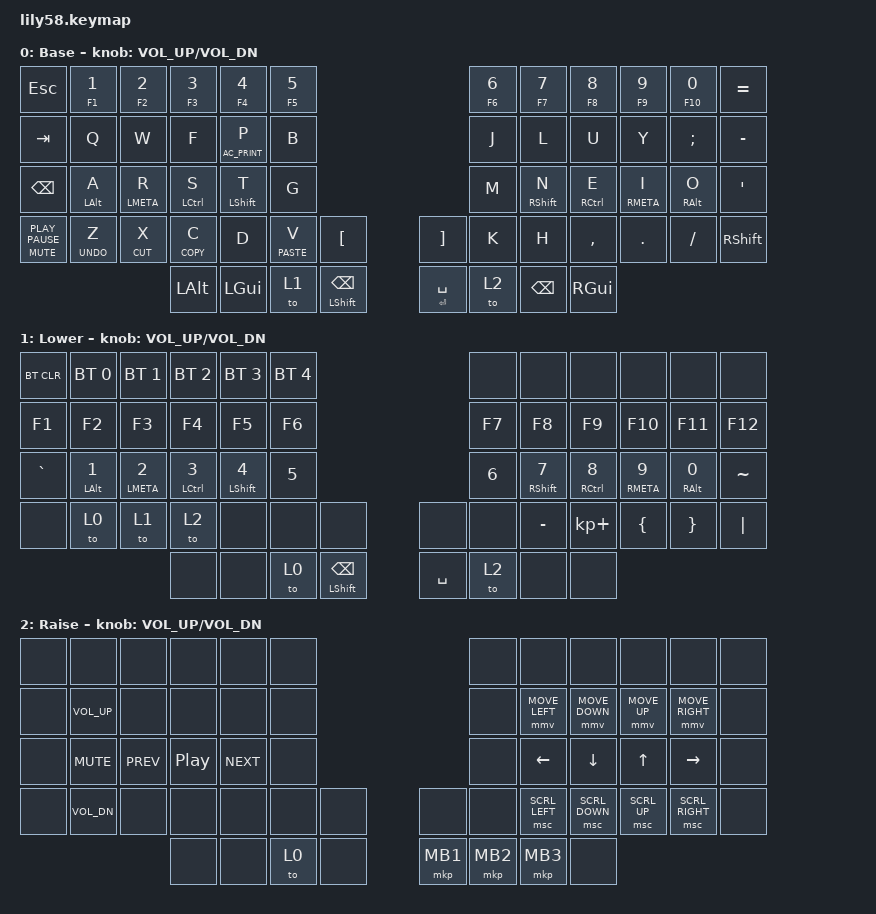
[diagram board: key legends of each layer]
/*
 * Copyright (c) 2020 The ZMK Contributors
 *
 * SPDX-License-Identifier: MIT
 */

#include <behaviors.dtsi>
#include <dt-bindings/zmk/bt.h>
#include <dt-bindings/zmk/keys.h>
#include <dt-bindings/zmk/pointing.h>

&mmv {
};

&msc {
};

/ {
    behaviors {
        HMR: HMR {
            compatible = "zmk,behavior-hold-tap";
            label = "HMR";
            bindings = <&kp>, <&kp>;

            #binding-cells = <2>;
            flavor = "tap-preferred";
            tapping-term-ms = <300>;
            quick-tap-ms = <275>;
            hold-trigger-on-release;
            hold-trigger-key-positions = <0 1 2 3 4 5 0 12 13 14 15 16 17 24 25 26 27 28 29 36 37 38 39 40 41 39 40 41 42 50 51 52 53 6 7 8 9 10 11 18 19 20 21 22 23 30 31 32 33 34 35 43 44 45 46 47 48 49 54 55 56 57>;
        };
    };

    keymap {
        compatible = "zmk,keymap";

        default_layer {
            // ------------------------------------------------------------------------------------------------------------
            // |  ESC  |  1  |  2  |  3   |  4   |  5   |                   |  6   |  7    |  8    |  9   |   0   |   `   |
            // |  TAB  |  Q  |  W  |  E   |  R   |  T   |                   |  Y   |  U    |  I    |  O   |   P   |   -   |
            // |  CTRL |  A  |  S  |  D   |  F   |  G   |                   |  H   |  J    |  K    |  L   |   ;   |   '   |
            // | SHIFT |  Z  |  X  |  C   |  V   |  B   |   "["  |  |  "]"  |  N   |  M    |  ,    |  .   |   /   | SHIFT |
            //                     | ALT  | GUI  | LOWER|  SPACE |  | ENTER | RAISE| BSPC  | GUI   |

            display-name = "Base";
            bindings = <
&kp ESC                   &HMR F1 N1       &HMR F2 N2    &HMR F3 N3     &HMR F4 N4         &HMR F5 N5                                                   &HMR F6 N6  &HMR F7 N7    &HMR F8 N8    &HMR F9 N9    &HMR F10 N0       &kp EQUAL
&kp TAB                   &kp Q            &kp W         &kp F          &HMR C_AC_PRINT P  &kp B                                                        &kp J       &kp L         &kp U         &kp Y         &kp SEMICOLON     &kp MINUS
&kp BACKSPACE             &HMR LEFT_ALT A  &HMR LMETA R  &HMR LCTRL S   &HMR LEFT_SHIFT T  &kp G                                                        &kp M       &HMR RSHFT N  &HMR RCTRL E  &HMR RMETA I  &HMR RIGHT_ALT O  &kp SQT
&HMR K_MUTE K_PLAY_PAUSE  &HMR K_UNDO Z    &HMR K_CUT X  &HMR K_COPY C  &kp D              &HMR K_PASTE V  &kp LBKT                     &kp RBKT        &kp K       &kp H         &kp COMMA     &kp DOT       &kp FSLH          &kp RSHFT
                                                         &kp LALT       &kp LGUI           &to 1           &HMR LEFT_SHIFT BACKSPACE    &HMR RET SPACE  &to 2       &kp BSPC      &kp RGUI
            >;

            sensor-bindings = <&inc_dec_kp C_VOL_UP C_VOL_DN>;
        };

        lower_layer {
            // ------------------------------------------------------------------------------------------------------------
            // | BTCLR | BT1 | BT2 |  BT3 |  BT4 |  BT5 |                   |      |       |       |      |       |       |
            // |  F1   |  F2 |  F3 |  F4  |  F5  |  F6  |                   |  F7  |  F8   |  F9   |  F10 |  F11  |  F12  |
            // |   `   |  !  |  @  |  #   |  $   |  %   |                   |  ^   |  &    |  *    |  (   |   )   |   ~   |
            // |       |     |     |      |      |      |        |  |       |      |  _    |  +    |  {   |   }   |  "|"  |
            //                     |      |      |      |        |  |       |      |       |       |

            display-name = "Lower";
            bindings = <
&bt BT_CLR  &bt BT_SEL 0  &bt BT_SEL 1   &bt BT_SEL 2   &bt BT_SEL 3   &bt BT_SEL 4                                          &none   &none          &none          &none          &none         &none
&kp F1      &kp F2        &kp F3         &kp F4         &kp F5         &kp F6                                                &kp F7  &kp F8         &kp F9         &kp F10        &kp F11       &kp F12
&kp GRAVE   &HMR LALT N1  &HMR LMETA N2  &HMR LCTRL N3  &HMR LSHFT N4  &kp N5                                                &kp N6  &HMR RSHFT N7  &HMR RCTRL N8  &HMR RMETA N9  &HMR RALT N0  &kp TILDE
&none       &to 0         &to 1          &to 2          &none          &none         &none                        &none      &none   &kp MINUS      &kp KP_PLUS    &kp LBRC       &kp RBRC      &kp PIPE
                                         &none          &none          &to 0         &HMR LEFT_SHIFT BACKSPACE    &kp SPACE  &to 2   &none          &none
            >;

            sensor-bindings = <&inc_dec_kp C_VOL_UP C_VOL_DN>;
        };

        raise_layer {
            // ------------------------------------------------------------------------------------------------------------
            // |       |     |     |      |      |      |                   |      |       |       |      |       |       |
            // |   `   |  1  |  2  |  3   |  4   |  5   |                   |  6   |   7   |   8   |  9   |   0   |       |
            // |   F1  |  F2 |  F3 |  F4  |  F5  |  F6  |                   |      |   <-  |   v   |  ^   |  ->   |       |
            // |   F7  |  F8 |  F9 |  F10 |  F11 |  F12 |        |  |       |  +   |   -   |   =   |  [   |   ]   |   \   |
            //                     |      |      |      |        |  |       |      |       |       |

            display-name = "Raise";
            bindings = <
&none  &none            &none       &none             &none       &none                     &none     &none           &none           &none         &none            &none
&none  &kp C_VOLUME_UP  &none       &none             &none       &none                     &none     &mmv MOVE_LEFT  &mmv MOVE_DOWN  &mmv MOVE_UP  &mmv MOVE_RIGHT  &none
&none  &kp C_MUTE       &kp K_PREV  &kp C_PLAY_PAUSE  &kp C_NEXT  &none                     &none     &kp LEFT        &kp DOWN        &kp UP        &kp RIGHT        &none
&none  &kp C_VOL_DN     &none       &none             &none       &none  &none    &none     &none     &msc SCRL_LEFT  &msc SCRL_DOWN  &msc SCRL_UP  &msc SCRL_RIGHT  &none
                                    &none             &none       &to 0  &none    &mkp MB1  &mkp MB2  &mkp MB3        &none
            >;

            sensor-bindings = <&inc_dec_kp C_VOL_UP C_VOL_DN>;
        };

        extra_1 { status = "reserved"; };

        extra_2 { status = "reserved"; };

        extra_3 { status = "reserved"; };
    };
};
